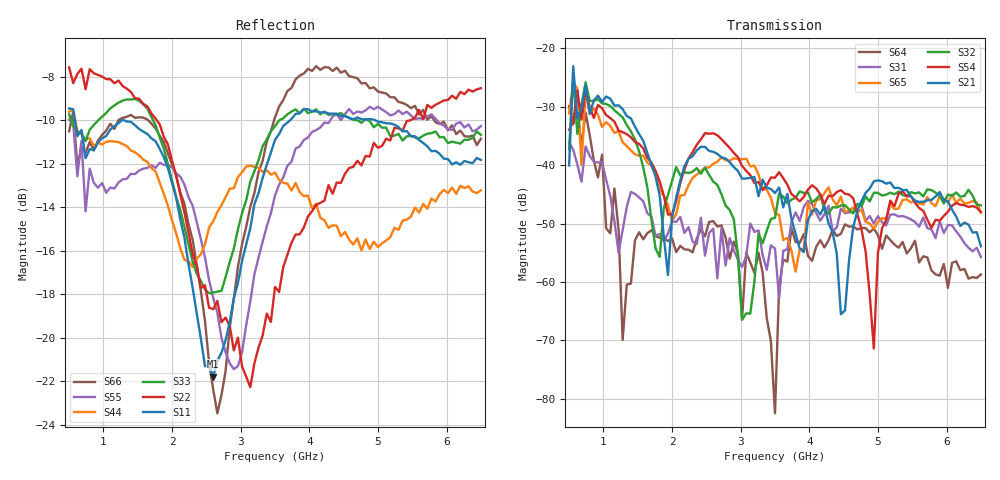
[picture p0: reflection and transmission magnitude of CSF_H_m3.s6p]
!Keysight Technologies,M9804A,MY58100912,A.14.10.03
!Date: Thursday, April 27, 2023 10:28:33
!Correction: S11(C  6-Port  )
!S12(C  6-Port  )
!S13(C  6-Port  )
!S14(C  6-Port  )
!S15(C  6-Port  )
!S16(C  6-Port  )
!S21(C  6-Port  )
!S22(C  6-Port  )
!S23(C  6-Port  )
!S24(C  6-Port  )
!S25(C  6-Port  )
!S26(C  6-Port  )
!S31(C  6-Port  )
!S32(C  6-Port  )
!S33(C  6-Port  )
!S34(C  6-Port  )
!S35(C  6-Port  )
!S36(C  6-Port  )
!S41(C  6-Port  )
!S42(C  6-Port  )
!S43(C  6-Port  )
!S44(C  6-Port  )
!S45(C  6-Port  )
!S46(C  6-Port  )
!S51(C  6-Port  )
!S52(C  6-Port  )
!S53(C  6-Port  )
!S54(C  6-Port  )
!S55(C  6-Port  )
!S56(C  6-Port  )
!S61(C  6-Port  )
!S62(C  6-Port  )
!S63(C  6-Port  )
!S64(C  6-Port  )
!S65(C  6-Port  )
!S66(C  6-Port  )
!S6P File: Measurement: :
# Hz S  RI  R 50
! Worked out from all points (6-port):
!   101 points, 500 MHz to 6.5 GHz, reference 50 ohm
!   strongest paths, dB at 500 MHz, 2 GHz, 3.5 GHz, 5 GHz, 6.5 GHz:
!     S21: -40.0, -49.0, -44.8, -42.6, -53.9
!     S54: -33.9, -48.4, -42.1, -55.0, -48.0
!     S32: -37.2, -42.7, -49.0, -44.7, -46.9
!     S65: -31.2, -49.6, -48.2, -49.7, -48.1
!     S31: -36.1, -49.6, -54.3, -48.7, -55.7
!     S64: -29.9, -52.5, -82.5, -52.0, -58.7
!   lowest |S11| = -21.8 dB at 2.6 GHz (marker M1), VSWR 1.18, Z = 42.7 + j1.96 ohm
!   |S11| at or under -10 dB: 584.8 MHz to 1.268 GHz (683.1 MHz wide, 73.7 % of centre); 1.302 GHz to 3.718 GHz (2.416 GHz wide, 96.2 % of centre); 4.963 GHz to end of sweep
